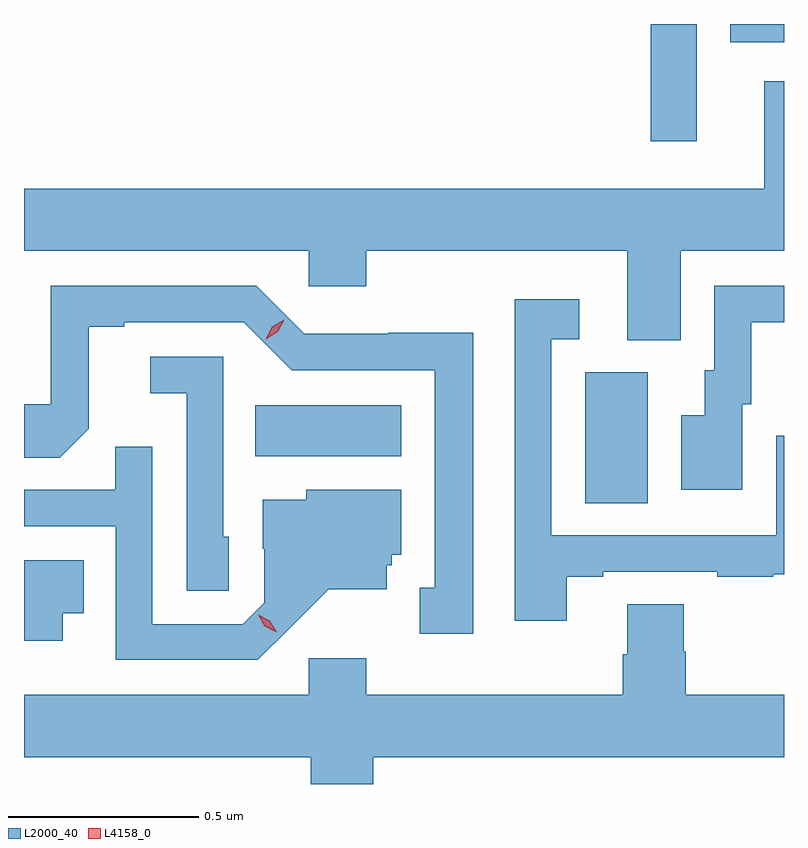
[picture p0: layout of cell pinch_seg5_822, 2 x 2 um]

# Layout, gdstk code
import gdstk
lib = gdstk.Library(unit=1e-6, precision=1e-09)
def R(c, l, rs):  # rectangles x0, y0, x1, y1
    for r in rs: c.add(gdstk.rectangle(r[:2], r[2:], *l))
def P(c, l, *ps):  # polygons
    for p in ps: c.add(gdstk.Polygon(p, *l))
L2000_40 = (2000, 40)
L4158_0 = (4158, 0)

pinch_seg5_822 = lib.new_cell('pinch_seg5_822')
R(pinch_seg5_822, L2000_40, [(806.012,898.72,806.176,899.064), (805.144,898.844,805.528,898.978), (806.184,899.673,806.305,899.981), (806.393,899.933,806.535,899.981)])
P(pinch_seg5_822, L2000_40, [(806.263,899.384),(806.535,899.384),(806.535,899.83),(806.483,899.83),(806.483,899.548),(804.535,899.548),(804.535,899.384),(805.284,899.384),(805.284,899.291),(805.436,899.291),(805.436,899.384),(806.123,899.384),(806.123,899.149),(806.263,899.149)],
  [(805.717,899.168),(805.494,899.168),(805.494,899.166),(805.272,899.166),(805.146,899.292),(804.606,899.292),(804.606,898.98),(804.535,898.98),(804.535,898.84),(804.629,898.84),(804.705,898.916),(804.705,899.184),(804.799,899.184),(804.799,899.196),(805.113,899.196),(805.239,899.07),(805.616,899.07),(805.616,898.497),(805.577,898.497),(805.577,898.377),(805.717,898.377)],
  [(806.425,898.98),(806.449,898.98),(806.449,899.196),(806.535,899.196),(806.535,899.292),(806.352,899.292),(806.352,899.07),(806.327,899.07),(806.327,898.951),(806.264,898.951),(806.264,898.755),(806.425,898.755)],
  [(805.963,898.527),(806.059,898.527),(806.059,898.539),(806.359,898.539),(806.359,898.527),(806.507,898.527),(806.507,898.533),(806.535,898.533),(806.535,898.897),(806.514,898.897),(806.514,898.635),(805.923,898.635),(805.923,899.151),(805.996,899.151),(805.996,899.257),(805.827,899.257),(805.827,898.41),(805.963,898.41)],
  [(805.074,898.632),(805.059,898.632),(805.059,899.106),(804.867,899.106),(804.867,899.009),(804.963,899.009),(804.963,898.489),(805.074,898.489)],
  [(805.234,898.391),(805.337,898.493),(805.489,898.493),(805.489,898.557),(805.503,898.557),(805.503,898.584),(805.528,898.584),(805.528,898.756),(805.278,898.756),(805.278,898.729),(805.163,898.729),(805.163,898.6),(805.167,898.6),(805.167,898.458),(805.11,898.401),(804.873,898.401),(804.873,898.868),(804.775,898.868),(804.775,898.755),(804.535,898.755),(804.535,898.659),(804.777,898.659),(804.777,898.308),(805.15,898.308)],
  [(804.637,898.43),(804.692,898.43),(804.692,898.57),(804.535,898.57),(804.535,898.358),(804.637,898.358)],
  [(805.454,898.052),(806.535,898.052),(806.535,898.216),(806.276,898.216),(806.276,898.329),(806.271,898.329),(806.271,898.454),(806.123,898.454),(806.123,898.322),(806.111,898.322),(806.111,898.216),(805.436,898.216),(805.436,898.312),(805.284,898.312),(805.284,898.216),(804.535,898.216),(804.535,898.052),(805.289,898.052),(805.289,897.981),(805.454,897.981)])
P(pinch_seg5_822, L4158_0, [(805.171,899.152),(805.171,899.152),(805.188,899.184),(805.22,899.203),(805.22,899.203),(805.22,899.203),(805.203,899.171),(805.171,899.152)],
  [(805.2,898.381),(805.169,898.396),(805.151,898.426),(805.151,898.426),(805.152,898.426),(805.182,898.411),(805.2,898.381),(805.2,898.381)])

lib.write_gds('pinch_seg5_822.gds')
